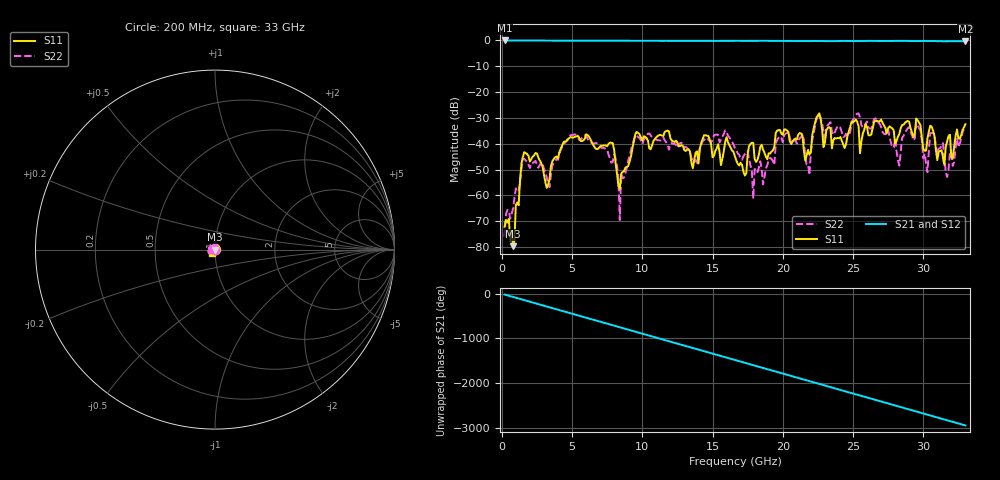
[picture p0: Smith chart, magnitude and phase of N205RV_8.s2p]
# GHZ S RI R 50
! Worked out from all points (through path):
!   329 points, 200 MHz to 33 GHz, reference 50 ohm
!   highest |S21| = -0.02 dB at 200 MHz (marker M1); lowest = -0.4 dB at 33 GHz (marker M2)
!   group delay of S21, straight-line fit = 248 ps
!   lowest |S11| = -79.6 dB at 800 MHz (marker M3), VSWR 1.00, Z = 50 + j0.0104 ohm
!   |S11| at or under -10 dB: start of sweep to end of sweep
!   |S22| runs from -76.0 to -28.3 dB; largest |S21 - S12| = 0.0019
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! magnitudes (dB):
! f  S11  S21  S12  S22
! 200 MHz  -72.1  0.0  0.0  -76.0
! 800 MHz  -79.6  0.0  0.0  -65.2
! 1.6 GHz  -43.3  -0.1  -0.1  -45.8
! 3.2 GHz  -57.1  -0.1  -0.1  -53.0
! 5.7 GHz  -39.0  -0.1  -0.1  -37.9
! 8 GHz  -42.5  -0.1  -0.1  -44.2
! 8.4 GHz  -57.5  -0.1  -0.1  -69.5
! 8.5 GHz  -51.5  -0.1  -0.1  -51.6
! 9.5 GHz  -36.3  -0.1  -0.1  -36.7
! 11.2 GHz  -36.7  -0.1  -0.1  -38.7
! 16.6 GHz  -45.0  -0.2  -0.2  -41.8
! 17.9 GHz  -39.7  -0.2  -0.2  -61.3
! 19.8 GHz  -34.7  -0.2  -0.2  -37.0
! 21.9 GHz  -44.2  -0.3  -0.3  -52.1
! 22.1 GHz  -36.6  -0.2  -0.2  -38.5
! 27.6 GHz  -33.3  -0.2  -0.2  -37.3
! 28.3 GHz  -36.1  -0.2  -0.2  -48.5
! 29.5 GHz  -30.2  -0.3  -0.3  -31.9
! 30.3 GHz  -37.9  -0.2  -0.2  -51.0
! 30.7 GHz  -34.8  -0.3  -0.3  -35.9
! 31.7 GHz  -39.1  -0.3  -0.3  -52.9
! 33 GHz  -32.4  -0.4  -0.4  -33.5
